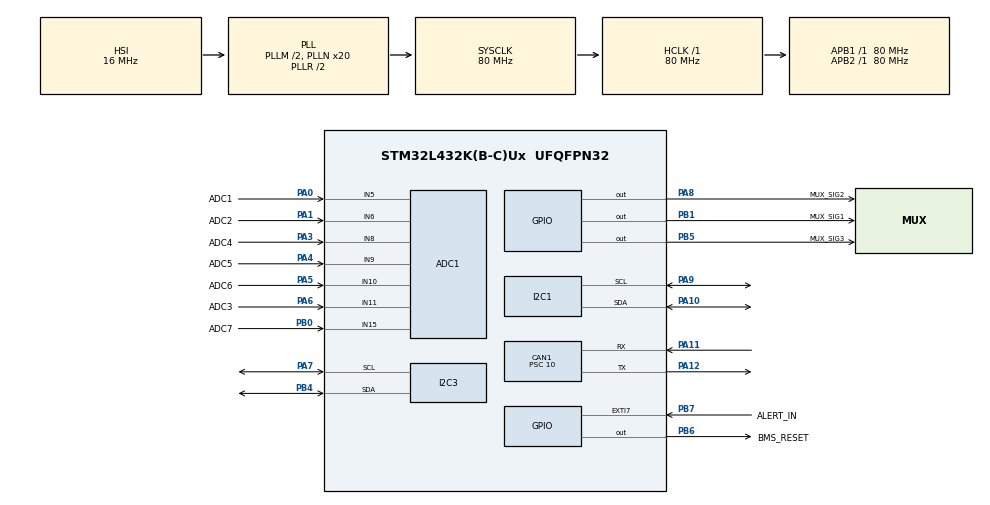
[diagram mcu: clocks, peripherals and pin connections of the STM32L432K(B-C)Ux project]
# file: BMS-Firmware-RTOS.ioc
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ADC1.Channel-0\#ChannelRegularConversion=ADC_CHANNEL_5
ADC1.NbrOfConversionFlag=1
ADC1.OffsetNumber-0\#ChannelRegularConversion=ADC_OFFSET_NONE
ADC1.Rank-0\#ChannelRegularConversion=1
ADC1.SamplingTime-0\#ChannelRegularConversion=ADC_SAMPLETIME_2CYCLES_5
ADC1.master=1
CAN1.BS1=CAN_BS1_13TQ
CAN1.BS2=CAN_BS2_2TQ
CAN1.CalculateBaudRate=500000
CAN1.CalculateTimeBit=2000
CAN1.CalculateTimeQuantum=125.0
CAN1.Prescaler=10
FREERTOS.Mutexes01=I2C1,Dynamic,NULL,Available;I2C3,Dynamic,NULL,Available
FREERTOS.Tasks01=CellVoltageBMS1,40,128,ReadBQBMS1,Default,NULL,Dynamic,NULL,NULL;CellVoltageBMS2,40,128,ReadBQBMS2,Default,NULL,Dynamic,NULL,NULL;CellTemperature,40,128,ReadCellTemps,Default,NULL,Dynamic,NULL,NULL;CANManager,56,256,CAN_ManagerTask,Default,NULL,Dynamic,NULL,NULL;BMSResetHandler,8,128,BMSResetHandlerTask,Default,NULL,Dynamic,NULL,NULL
I2C1.Timing=0x00503D58
I2C3.Timing=0x00503D58
Mcu.Family=STM32L4
Mcu.Name=STM32L432K(B-C)Ux
Mcu.Package=UFQFPN32
NVIC.PriorityGroup=NVIC_PRIORITYGROUP_4
NVIC.TIM6_DAC_IRQn=true\:15\:0\:false\:false\:true\:false\:false\:true\:true
NVIC.TimeBase=TIM6_DAC_IRQn
NVIC.TimeBaseIP=TIM6
PA0.GPIO_Label=ADC1
PA0.Signal=ADCx_IN5
PA1.GPIO_Label=ADC2
PA1.Signal=ADCx_IN6
PA10.GPIO_Pu=GPIO_PULLUP
PA10.Mode=I2C
PA10.Signal=I2C1_SDA
PA11.Mode=CAN_Activate
PA11.Signal=CAN1_RX
PA12.Mode=CAN_Activate
PA12.Signal=CAN1_TX
PA3.GPIO_Label=ADC4
PA3.Signal=ADCx_IN8
PA4.GPIO_Label=ADC5
PA4.Signal=ADCx_IN9
PA5.GPIO_Label=ADC6
PA5.Signal=ADCx_IN10
PA6.GPIO_Label=ADC3
PA6.Signal=ADCx_IN11
PA7.GPIO_Pu=GPIO_PULLUP
PA7.Mode=I2C
PA7.Signal=I2C3_SCL
PA8.GPIO_Label=MUX_SIG2
PA8.Signal=GPIO_Output
PA9.GPIO_Pu=GPIO_PULLUP
PA9.Mode=I2C
PA9.Signal=I2C1_SCL
PB0.GPIO_Label=ADC7
PB0.Signal=ADCx_IN15
PB1.GPIO_Label=MUX_SIG1
PB1.Signal=GPIO_Output
PB4\ (NJTRST).GPIO_Pu=GPIO_PULLUP
PB4\ (NJTRST).Mode=I2C
PB4\ (NJTRST).Signal=I2C3_SDA
PB5.GPIO_Label=MUX_SIG3
PB5.Signal=GPIO_Output
PB6.GPIO_Label=BMS_RESET
PB6.Signal=GPIO_Output
PB7.GPIO_Label=ALERT_IN
PB7.GPIO_ModeDefaultEXTI=GPIO_MODE_IT_RISING_FALLING
PB7.Signal=GPXTI7
ProjectManager.HeapSize=0x200
ProjectManager.StackSize=0x400
ProjectManager.TargetToolchain=Makefile
RCC.ADCFreq_Value=32000000
RCC.AHBFreq_Value=80000000
RCC.APB1Freq_Value=80000000
RCC.APB1TimFreq_Value=80000000
RCC.APB2Freq_Value=80000000
RCC.APB2TimFreq_Value=80000000
RCC.CortexFreq_Value=80000000
RCC.HCLKFreq_Value=80000000
RCC.HSE_VALUE=8000000
RCC.HSI48_VALUE=48000000
RCC.HSI_VALUE=16000000
RCC.I2C1CLockSelection=RCC_I2C1CLKSOURCE_HSI
RCC.I2C3CLockSelection=RCC_I2C3CLKSOURCE_HSI
RCC.LSE_VALUE=32768
RCC.MSI_VALUE=4000000
RCC.PLLM=2
RCC.PLLN=20
RCC.PLLSourceVirtual=RCC_PLLSOURCE_HSI
RCC.SYSCLKFreq_VALUE=80000000
RCC.SYSCLKSource=RCC_SYSCLKSOURCE_PLLCLK
RCC.USBFreq_Value=32000000
RCC.VCOOutputFreq_Value=160000000
SH.ADCx_IN10.0=ADC1_IN10,IN10-Single-Ended
SH.ADCx_IN11.0=ADC1_IN11,IN11-Single-Ended
SH.ADCx_IN15.0=ADC1_IN15,IN15-Single-Ended
SH.ADCx_IN5.0=ADC1_IN5,IN5-Single-Ended
SH.ADCx_IN6.0=ADC1_IN6,IN6-Single-Ended
SH.ADCx_IN8.0=ADC1_IN8,IN8-Single-Ended
SH.ADCx_IN9.0=ADC1_IN9,IN9-Single-Ended
VP_CRC_VS_CRC.Mode=CRC_Activate
VP_FREERTOS_VS_CMSIS_V2.Mode=CMSIS_V2
VP_SYS_VS_tim6.Mode=TIM6
board=custom

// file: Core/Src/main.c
/* USER CODE BEGIN Header */
/**
  ******************************************************************************
  * @file           : main.c
  * @brief          : Main program body
  ******************************************************************************
  * @attention
  *
  * Copyright (c) 2025 STMicroelectronics.
  * All rights reserved.
  *
  * This software is licensed under terms that can be found in the LICENSE file
  * in the root directory of this software component.
  * If no LICENSE file comes with this software, it is provided AS-IS.
  *
  ******************************************************************************
  */
/* USER CODE END Header */
#include "main.h"
#include "cmsis_os.h"

/* USER CODE BEGIN Includes */
#include "cell_temp_handler.h"
#include "bq_handler.h"
#include "can_manager.h"
#include "config_manager.h"
#include "error_manager.h"
#include "state_machine.h"
#include "balance_manager.h"
#include "watchdog.h"
#include "ds18b20_handler.h"
/* USER CODE END Includes */

ADC_HandleTypeDef hadc1;

CAN_HandleTypeDef hcan1;

CRC_HandleTypeDef hcrc;

I2C_HandleTypeDef hi2c1;
I2C_HandleTypeDef hi2c3;

/* USER CODE BEGIN PV */

/* Bootloader application validity status (1 = valid, 0 = invalid) */
uint8_t g_bootloader_app_valid = 0;
uint8_t g_bootloader_status_flags = 0;

/* Definitions for CellVoltageBMS1 */
osThreadId_t CellVoltageBMS1Handle;
const osThreadAttr_t CellVoltageBMS1_attributes = {
  .name = "CellVoltageBMS1",
  .stack_size = 128 * 4,
  .priority = (osPriority_t) osPriorityHigh,
};
/* Definitions for CellVoltageBMS2 */
osThreadId_t CellVoltageBMS2Handle;
const osThreadAttr_t CellVoltageBMS2_attributes = {
  .name = "CellVoltageBMS2",
  .stack_size = 128 * 4,
  .priority = (osPriority_t) osPriorityHigh,
};
/* Definitions for CellTemperature */
osThreadId_t CellTemperatureHandle;
const osThreadAttr_t CellTemperature_attributes = {
  .name = "CellTemperature",
  .stack_size = 128 * 4,
  .priority = (osPriority_t) osPriorityHigh,
};
/* Definitions for CANManager */
osThreadId_t CANManagerHandle;
const osThreadAttr_t CANManager_attributes = {
  .name = "CANManager",
  .stack_size = 256 * 4,
  .priority = (osPriority_t) osPriorityRealtime,
};
/* Definitions for I2C1 */
osMutexId_t I2C1Handle;
const osMutexAttr_t I2C1_attributes = {
  .name = "I2C1"
};
/* Definitions for I2C3 */
osMutexId_t I2C3Handle;
const osMutexAttr_t I2C3_attributes = {
  .name = "I2C3"
};
/* USER CODE BEGIN PV */
/* Definitions for BMS Reset Semaphore */
osSemaphoreId_t BMSResetSemHandle;
const osSemaphoreAttr_t BMSResetSem_attributes = {
  .name = "BMSResetSem"
};

/* Definitions for BMSResetHandler task */
osThreadId_t BMSResetHandlerHandle;
const osThreadAttr_t BMSResetHandler_attributes = {
  .name = "BMSResetHandler",
  .stack_size = 128 * 4,
  .priority = (osPriority_t) osPriorityLow,
};
#if DS18B20_FEATURE_ENABLED
/* Definitions for DS18B20Monitor task */
osThreadId_t DS18B20MonitorHandle;
const osThreadAttr_t DS18B20Monitor_attributes = {
  .name = "DS18B20Monitor",
  .stack_size = 128 * 4,
  .priority = (osPriority_t) osPriorityNormal,
};
#endif
/* USER CODE END PV */

void SystemClock_Config(void);
static void MX_GPIO_Init(void);
static void MX_ADC1_Init(void);
static void MX_CAN1_Init(void);
static void MX_CRC_Init(void);
static void MX_I2C1_Init(void);
static void MX_I2C3_Init(void);

/* USER CODE BEGIN PFP */
void ReadBQBMS1(void *argument);
void ReadBQBMS2(void *argument);
void ReadCellTemps(void *argument);
void BMSResetHandlerTask(void *argument);
#if DS18B20_FEATURE_ENABLED
void DS18B20_MonitorTask(void *argument);
#endif
static void Bootloader_UpdateApplicationStatus(void);
static uint8_t Bootloader_IsMetadataValid(const BootMetadata_t *metadata);
static uint8_t Bootloader_IsBankMarkedValid(const BootMetadata_t *metadata, uint8_t bank);
static uint8_t Bootloader_IsBankCrcValid(const BootMetadata_t *metadata, uint8_t bank);
static uint8_t Bootloader_IsBankVectorValid(uint8_t bank);
static uint32_t Bootloader_GetBankStartAddress(uint8_t bank);
static uint32_t Bootloader_GetBankSize(const BootMetadata_t *metadata, uint8_t bank);
static uint32_t Bootloader_GetBankCrc(const BootMetadata_t *metadata, uint8_t bank);
static uint32_t Bootloader_ComputeCRC32(uint32_t start_address, uint32_t size);
/* USER CODE END PFP */

/* USER CODE BEGIN 0 */

static uint32_t Bootloader_GetBankStartAddress(uint8_t bank)
{
  return (bank == BOOT_BANK_B) ? BOOT_BANK_B_ADDRESS : BOOT_BANK_A_ADDRESS;
}

static uint32_t Bootloader_GetBankSize(const BootMetadata_t *metadata, uint8_t bank)
{
  return (bank == BOOT_BANK_B) ? metadata->bank_b_size : metadata->bank_a_size;
}

static uint32_t Bootloader_GetBankCrc(const BootMetadata_t *metadata, uint8_t bank)
{
  return (bank == BOOT_BANK_B) ? metadata->bank_b_crc : metadata->bank_a_crc;
}

static uint8_t Bootloader_IsMetadataValid(const BootMetadata_t *metadata)
{
  if (metadata->magic != BOOT_METADATA_MAGIC)
  {
    return 0;
  }

  if (metadata->complement != ~BOOT_METADATA_MAGIC)
  {
    return 0;
  }

  if (metadata->active_bank != BOOT_BANK_A && metadata->active_bank != BOOT_BANK_B)
  {
    return 0;
  }

  if (metadata->bank_a_size > BOOT_BANK_SIZE || metadata->bank_b_size > BOOT_BANK_SIZE)
  {
    return 0;
  }

  return 1;
}

static uint8_t Bootloader_IsBankMarkedValid(const BootMetadata_t *metadata, uint8_t bank)
{
  uint32_t image_size = Bootloader_GetBankSize(metadata, bank);

  if (image_size == 0U || image_size > BOOT_BANK_SIZE)
  {
    return 0;
  }

  if (bank == BOOT_BANK_A)
  {
    return metadata->bank_a_valid ? 1U : 0U;
  }

  if (bank == BOOT_BANK_B)
  {
    return metadata->bank_b_valid ? 1U : 0U;
  }

  return 0;
}

static uint8_t Bootloader_IsBankVectorValid(uint8_t bank)
{
  uint32_t app_base = Bootloader_GetBankStartAddress(bank);
  uint32_t stack_pointer = *(__IO uint32_t *)app_base;
  uint32_t reset_handler = *(__IO uint32_t *)(app_base + 4U);

  if ((stack_pointer & 0xFFF00000U) != 0x20000000U)
  {
    return 0;
  }

  if ((reset_handler & 0xFF000000U) != 0x08000000U || (reset_handler & 0x01U) == 0U)
  {
    return 0;
  }

  return 1;
}

static uint32_t Bootloader_ComputeCRC32(uint32_t start_address, uint32_t size)
{
  uint32_t crc = 0xFFFFFFFFU;
  const uint8_t *data = (const uint8_t *)start_address;

  for (uint32_t i = 0; i < size; i++)
  {
    crc ^= data[i];
    for (uint8_t bit = 0; bit < 8U; bit++)
    {
      if ((crc & 1U) != 0U)
      {
        crc = (crc >> 1U) ^ 0xEDB88320U;
      }
      else
      {
        crc >>= 1U;
      }
    }
  }

  return ~crc;
}

static uint8_t Bootloader_IsBankCrcValid(const BootMetadata_t *metadata, uint8_t bank)
{
  uint32_t image_size = Bootloader_GetBankSize(metadata, bank);
  uint32_t expected_crc = Bootloader_GetBankCrc(metadata, bank);
  uint32_t bank_start = Bootloader_GetBankStartAddress(bank);
  uint32_t computed_crc;

  if (image_size == 0U || image_size > BOOT_BANK_SIZE)
  {
    return 0;
  }

  computed_crc = Bootloader_ComputeCRC32(bank_start, image_size);

  return (computed_crc == expected_crc) ? 1U : 0U;
}

static void Bootloader_UpdateApplicationStatus(void)
{
  const BootMetadata_t *metadata = (const BootMetadata_t *)BOOT_METADATA_ADDRESS;
  uint8_t flags = 0;
  uint8_t bank_a_crc_ok = 0;
  uint8_t bank_b_crc_ok = 0;
  uint8_t active_crc_ok = 0;
  uint8_t active_bank;

  if (Bootloader_IsMetadataValid(metadata))
  {
    flags |= BOOT_STATUS_FLAG_METADATA_VALID;

    if (metadata->active_bank == BOOT_BANK_B)
    {
      flags |= BOOT_STATUS_FLAG_ACTIVE_BANK_B;
    }

    if (Bootloader_IsBankMarkedValid(metadata, BOOT_BANK_A))
    {
      flags |= BOOT_STATUS_FLAG_BANK_A_MARKED_VALID;
    }

    if (Bootloader_IsBankMarkedValid(metadata, BOOT_BANK_B))
    {
      flags |= BOOT_STATUS_FLAG_BANK_B_MARKED_VALID;
    }

    bank_a_crc_ok = Bootloader_IsBankCrcValid(metadata, BOOT_BANK_A);
    bank_b_crc_ok = Bootloader_IsBankCrcValid(metadata, BOOT_BANK_B);

    if (bank_a_crc_ok)
    {
      flags |= BOOT_STATUS_FLAG_BANK_A_CRC_OK;
    }

    if (bank_b_crc_ok)
    {
      flags |= BOOT_STATUS_FLAG_BANK_B_CRC_OK;
    }

    if (metadata->reserved0 == BOOT_METADATA_UPDATE_IN_PROGRESS)
    {
      flags |= BOOT_STATUS_FLAG_UPDATE_IN_PROGRESS;
    }

    active_bank = metadata->active_bank;
    active_crc_ok = (active_bank == BOOT_BANK_B) ? bank_b_crc_ok : bank_a_crc_ok;
    if (Bootloader_IsBankMarkedValid(metadata, active_bank) &&
        active_crc_ok &&
        Bootloader_IsBankVectorValid(active_bank))
    {
      flags |= BOOT_STATUS_FLAG_ACTIVE_APP_VALID;
    }
  }

  g_bootloader_status_flags = flags;
  g_bootloader_app_valid = ((flags & BOOT_STATUS_FLAG_ACTIVE_APP_VALID) != 0U) ? 1U : 0U;
}

/* USER CODE END 0 */

int main(void)
{

  /* USER CODE BEGIN 1 */
  // When coming from bootloader, disable all interrupts first
  __disable_irq();

  // Disable SysTick (bootloader might have enabled it)
  SysTick->CTRL = 0;
  SysTick->LOAD = 0;
  SysTick->VAL = 0;

  /* USER CODE END 1 */

  /* MCU Configuration--------------------------------------------------------*/

  /* Reset of all peripherals, Initializes the Flash interface and the Systick. */
  HAL_Init();

  /* Configure the system clock */
  SystemClock_Config();

  /* Initialize all configured peripherals */
  MX_GPIO_Init();
  MX_ADC1_Init();
  MX_CAN1_Init();
  MX_CRC_Init();
  MX_I2C1_Init();
  MX_I2C3_Init();
  /* USER CODE BEGIN 2 */

  // Wake BQ76952 chips from sleep and keep them in normal mode
  // Continue startup even on failure; monitor tasks will report communication faults
  (void)BQ_WakeChips();

  Bootloader_UpdateApplicationStatus();

  // Calibrate ADC
  if (HAL_ADCEx_Calibration_Start(&hadc1, ADC_SINGLE_ENDED) != HAL_OK)
  {
    Error_Handler();
  }

  // Start CAN peripheral
  if (HAL_CAN_Start(&hcan1) != HAL_OK)
  {
    Error_Handler();
  }

  /* USER CODE END 2 */

  /* Init scheduler */
  osKernelInitialize();
  /* Create the mutex(es) */
  /* creation of I2C1 */
  I2C1Handle = osMutexNew(&I2C1_attributes);

  /* creation of I2C3 */
  I2C3Handle = osMutexNew(&I2C3_attributes);

  /* USER CODE BEGIN RTOS_SEMAPHORES */
  /* Create BMS reset semaphore (binary semaphore for reset signaling) */
  BMSResetSemHandle = osSemaphoreNew(1, 0, &BMSResetSem_attributes);
  if (BMSResetSemHandle == NULL)
  {
    Error_Handler();
  }
  /* USER CODE END RTOS_SEMAPHORES */

  /* USER CODE BEGIN RTOS_QUEUES */
  // Initialize Configuration Manager
  Config_Init();

  // Initialize State Machine
  if (StateMachine_Init() != HAL_OK)
  {
    Error_Handler();
  }

  // Initialize Error Manager
  if (ErrorMgr_Init() != HAL_OK)
  {
    Error_Handler();
  }

  // Initialize Independent Watchdog (IWDG ~2s) and capture previous reset
  // cause. Once started the IWDG cannot be disabled; the supervisor task
  // (created below) is responsible for refreshing it.
  if (Watchdog_Init() != HAL_OK)
  {
    Error_Handler();
  }

  // Initialize CAN Manager (creates TX and RX message queues)
  if (CAN_Manager_Init() != HAL_OK)
  {
    Error_Handler();
  }

#if DS18B20_FEATURE_ENABLED
  // Initialize DS18B20 1-Wire thermometer on PB7 with internal pull-up
  if (DS18B20_Init() != HAL_OK)
  {
    Error_Handler();
  }
#endif

  // Initialize Balance Manager
  if (BalanceMgr_Init() != HAL_OK)
  {
    Error_Handler();
  }

  // Set initial BMS state to IDLE after initialization
  StateMachine_SetState(BMS_STATE_IDLE);
  /* USER CODE END RTOS_QUEUES */

  /* Create the thread(s) */
  /* USER CODE BEGIN RTOS_THREADS */
  /* creation of CellVoltageBMS1 */
  CellVoltageBMS1Handle = osThreadNew(ReadBQBMS1, NULL, &CellVoltageBMS1_attributes);

  /* creation of CellVoltageBMS2 */
  CellVoltageBMS2Handle = osThreadNew(ReadBQBMS2, NULL, &CellVoltageBMS2_attributes);

  /* creation of CellTemperature */
  CellTemperatureHandle = osThreadNew(ReadCellTemps, NULL, &CellTemperature_attributes);

#if DS18B20_FEATURE_ENABLED
  /* creation of DS18B20Monitor */
  DS18B20MonitorHandle = osThreadNew(DS18B20_MonitorTask, NULL, &DS18B20Monitor_attributes);
#endif

  /* creation of CANManager */
  CANManagerHandle = osThreadNew(CAN_ManagerTask, NULL, &CANManager_attributes);

  /* creation of BMSResetHandler */
  BMSResetHandlerHandle = osThreadNew(BMSResetHandlerTask, NULL, &BMSResetHandler_attributes);

  /* creation of Watchdog supervisor */
  if (Watchdog_StartSupervisor() != HAL_OK)
  {
    Error_Handler();
  }
  /* USER CODE END RTOS_THREADS */

  /* Start scheduler */
  osKernelStart();

  /* We should never get here as control is now taken by the scheduler */

  /* Infinite loop */
  while (1)
  {

  }
}

void SystemClock_Config(void)
{
  RCC_OscInitTypeDef RCC_OscInitStruct = {0};
  RCC_ClkInitTypeDef RCC_ClkInitStruct = {0};

  /** Configure the main internal regulator output voltage
  */
  if (HAL_PWREx_ControlVoltageScaling(PWR_REGULATOR_VOLTAGE_SCALE1) != HAL_OK)
  {
    Error_Handler();
  }

  /** Initializes the RCC Oscillators according to the specified parameters
  * in the RCC_OscInitTypeDef structure.
  */
  RCC_OscInitStruct.OscillatorType = RCC_OSCILLATORTYPE_HSI;
  RCC_OscInitStruct.HSIState = RCC_HSI_ON;
  RCC_OscInitStruct.HSICalibrationValue = RCC_HSICALIBRATION_DEFAULT;
  RCC_OscInitStruct.PLL.PLLState = RCC_PLL_ON;
  RCC_OscInitStruct.PLL.PLLSource = RCC_PLLSOURCE_HSI;
  RCC_OscInitStruct.PLL.PLLM = 2;
  RCC_OscInitStruct.PLL.PLLN = 20;
  RCC_OscInitStruct.PLL.PLLP = RCC_PLLP_DIV7;
  RCC_OscInitStruct.PLL.PLLQ = RCC_PLLQ_DIV2;
  RCC_OscInitStruct.PLL.PLLR = RCC_PLLR_DIV2;
  if (HAL_RCC_OscConfig(&RCC_OscInitStruct) != HAL_OK)
  {
    Error_Handler();
  }

  /** Initializes the CPU, AHB and APB buses clocks
  */
  RCC_ClkInitStruct.ClockType = RCC_CLOCKTYPE_HCLK|RCC_CLOCKTYPE_SYSCLK
                              |RCC_CLOCKTYPE_PCLK1|RCC_CLOCKTYPE_PCLK2;
  RCC_ClkInitStruct.SYSCLKSource = RCC_SYSCLKSOURCE_PLLCLK;
  RCC_ClkInitStruct.AHBCLKDivider = RCC_SYSCLK_DIV1;
  RCC_ClkInitStruct.APB1CLKDivider = RCC_HCLK_DIV1;
  RCC_ClkInitStruct.APB2CLKDivider = RCC_HCLK_DIV1;

  if (HAL_RCC_ClockConfig(&RCC_ClkInitStruct, FLASH_LATENCY_4) != HAL_OK)
  {
    Error_Handler();
  }
}

static void MX_ADC1_Init(void)
{

  ADC_ChannelConfTypeDef sConfig = {0};

  /** Common config
  */
  hadc1.Instance = ADC1;
  hadc1.Init.ClockPrescaler = ADC_CLOCK_ASYNC_DIV1;
  hadc1.Init.Resolution = ADC_RESOLUTION_12B;
  hadc1.Init.DataAlign = ADC_DATAALIGN_RIGHT;
  hadc1.Init.ScanConvMode = ADC_SCAN_DISABLE;
  hadc1.Init.EOCSelection = ADC_EOC_SINGLE_CONV;
  hadc1.Init.LowPowerAutoWait = DISABLE;
  hadc1.Init.ContinuousConvMode = DISABLE;
  hadc1.Init.NbrOfConversion = 1;
  hadc1.Init.DiscontinuousConvMode = DISABLE;
  hadc1.Init.ExternalTrigConv = ADC_SOFTWARE_START;
  hadc1.Init.ExternalTrigConvEdge = ADC_EXTERNALTRIGCONVEDGE_NONE;
  hadc1.Init.DMAContinuousRequests = DISABLE;
  hadc1.Init.Overrun = ADC_OVR_DATA_PRESERVED;
  hadc1.Init.OversamplingMode = DISABLE;
  if (HAL_ADC_Init(&hadc1) != HAL_OK)
  {
    Error_Handler();
  }

  /** Configure Regular Channel
  */
  sConfig.Channel = ADC_CHANNEL_5;  // ADC1 (PA0) - first thermistor channel
  sConfig.Rank = ADC_REGULAR_RANK_1;
  sConfig.SamplingTime = ADC_SAMPLETIME_640CYCLES_5;  // Longer sampling for high impedance thermistors
  sConfig.SingleDiff = ADC_SINGLE_ENDED;
  sConfig.OffsetNumber = ADC_OFFSET_NONE;
  sConfig.Offset = 0;
  if (HAL_ADC_ConfigChannel(&hadc1, &sConfig) != HAL_OK)
  {
    Error_Handler();
  }

}

static void MX_CAN1_Init(void)
{

  hcan1.Instance = CAN1;
  hcan1.Init.Prescaler = 10;
  hcan1.Init.Mode = CAN_MODE_NORMAL;
  hcan1.Init.SyncJumpWidth = CAN_SJW_1TQ;
  hcan1.Init.TimeSeg1 = CAN_BS1_13TQ;
  hcan1.Init.TimeSeg2 = CAN_BS2_2TQ;
  hcan1.Init.TimeTriggeredMode = DISABLE;
  hcan1.Init.AutoBusOff = DISABLE;
  hcan1.Init.AutoWakeUp = DISABLE;
  hcan1.Init.AutoRetransmission = DISABLE;
  hcan1.Init.ReceiveFifoLocked = DISABLE;
  hcan1.Init.TransmitFifoPriority = DISABLE;
  if (HAL_CAN_Init(&hcan1) != HAL_OK)
  {
    Error_Handler();
  }
  /* USER CODE BEGIN CAN1_Init 2 */

  // Configure CAN filter BEFORE starting CAN
  // Accept all extended CAN IDs (for debugging)
  CAN_FilterTypeDef filterConfig;
  filterConfig.FilterBank = 0;
  filterConfig.FilterMode = CAN_FILTERMODE_IDMASK;
  filterConfig.FilterScale = CAN_FILTERSCALE_32BIT;

  // Accept all extended IDs: ID=0, Mask=0 means "don't care about any bits"
  filterConfig.FilterIdHigh = 0x0000;
  filterConfig.FilterIdLow = 0x0004;   // Only IDE bit set (extended ID)
  filterConfig.FilterMaskIdHigh = 0x0000;  // Don't care about any ID bits
  filterConfig.FilterMaskIdLow = 0x0004;   // But we DO care about IDE bit (only extended)

  filterConfig.FilterFIFOAssignment = CAN_RX_FIFO0;
  filterConfig.FilterActivation = ENABLE;
  filterConfig.SlaveStartFilterBank = 14;

  if (HAL_CAN_ConfigFilter(&hcan1, &filterConfig) != HAL_OK)
  {
    Error_Handler();
  }

  // Enable robust CAN fault handling (preserved across CubeMX regeneration)
  // ABOM: automatic recovery from Bus-Off per CAN specification
  // NART: clear to enable automatic retransmission for transient failures
  SET_BIT(hcan1.Instance->MCR, CAN_MCR_ABOM);
  CLEAR_BIT(hcan1.Instance->MCR, CAN_MCR_NART);

  /* USER CODE END CAN1_Init 2 */

}

static void MX_CRC_Init(void)
{

  hcrc.Instance = CRC;
  hcrc.Init.DefaultPolynomialUse = DEFAULT_POLYNOMIAL_ENABLE;
  hcrc.Init.DefaultInitValueUse = DEFAULT_INIT_VALUE_ENABLE;
  hcrc.Init.InputDataInversionMode = CRC_INPUTDATA_INVERSION_NONE;
  hcrc.Init.OutputDataInversionMode = CRC_OUTPUTDATA_INVERSION_DISABLE;
  hcrc.InputDataFormat = CRC_INPUTDATA_FORMAT_BYTES;
  if (HAL_CRC_Init(&hcrc) != HAL_OK)
  {
    Error_Handler();
  }

}

static void MX_I2C1_Init(void)
{

  hi2c1.Instance = I2C1;
  hi2c1.Init.Timing = 0x00503D58;
  hi2c1.Init.OwnAddress1 = 0;
  hi2c1.Init.AddressingMode = I2C_ADDRESSINGMODE_7BIT;
  hi2c1.Init.DualAddressMode = I2C_DUALADDRESS_DISABLE;
  hi2c1.Init.OwnAddress2 = 0;
  hi2c1.Init.OwnAddress2Masks = I2C_OA2_NOMASK;
  hi2c1.Init.GeneralCallMode = I2C_GENERALCALL_DISABLE;
  hi2c1.Init.NoStretchMode = I2C_NOSTRETCH_DISABLE;
  if (HAL_I2C_Init(&hi2c1) != HAL_OK)
  {
    Error_Handler();
  }

  /** Configure Analogue filter
  */
  if (HAL_I2CEx_ConfigAnalogFilter(&hi2c1, I2C_ANALOGFILTER_ENABLE) != HAL_OK)
  {
    Error_Handler();
  }

  /** Configure Digital filter
  */
  if (HAL_I2CEx_ConfigDigitalFilter(&hi2c1, 0) != HAL_OK)
  {
    Error_Handler();
  }

}

static void MX_I2C3_Init(void)
{

  hi2c3.Instance = I2C3;
  hi2c3.Init.Timing = 0x00503D58;
  hi2c3.Init.OwnAddress1 = 0;
  hi2c3.Init.AddressingMode = I2C_ADDRESSINGMODE_7BIT;
  hi2c3.Init.DualAddressMode = I2C_DUALADDRESS_DISABLE;
  hi2c3.Init.OwnAddress2 = 0;
  hi2c3.Init.OwnAddress2Masks = I2C_OA2_NOMASK;
  hi2c3.Init.GeneralCallMode = I2C_GENERALCALL_DISABLE;
  hi2c3.Init.NoStretchMode = I2C_NOSTRETCH_DISABLE;
  if (HAL_I2C_Init(&hi2c3) != HAL_OK)
  {
    Error_Handler();
  }

  /** Configure Analogue filter
  */
  if (HAL_I2CEx_ConfigAnalogFilter(&hi2c3, I2C_ANALOGFILTER_ENABLE) != HAL_OK)
  {
    Error_Handler();
  }

  /** Configure Digital filter
  */
  if (HAL_I2CEx_ConfigDigitalFilter(&hi2c3, 0) != HAL_OK)
  {
    Error_Handler();
  }

}

static void MX_GPIO_Init(void)
{
  GPIO_InitTypeDef GPIO_InitStruct = {0};

  /* GPIO Ports Clock Enable */
  __HAL_RCC_GPIOA_CLK_ENABLE();
  __HAL_RCC_GPIOB_CLK_ENABLE();

  /*Configure GPIO pin Output Level */
  HAL_GPIO_WritePin(GPIOB, MUX_SIG1_Pin|MUX_SIG3_Pin|BMS_RESET_Pin, GPIO_PIN_RESET);

  /*Configure GPIO pin Output Level */
  HAL_GPIO_WritePin(MUX_SIG2_GPIO_Port, MUX_SIG2_Pin, GPIO_PIN_RESET);

  /*Configure GPIO pins : MUX_SIG1_Pin MUX_SIG3_Pin */
#ifdef MUX_SIG_USE_OPEN_DRAIN
  GPIO_InitStruct.Pin = MUX_SIG1_Pin|MUX_SIG3_Pin;
  GPIO_InitStruct.Mode = GPIO_MODE_OUTPUT_OD;
  GPIO_InitStruct.Pull = GPIO_NOPULL;
  GPIO_InitStruct.Speed = GPIO_SPEED_FREQ_LOW;
  HAL_GPIO_Init(GPIOB, &GPIO_InitStruct);
#else
  GPIO_InitStruct.Pin = MUX_SIG1_Pin|MUX_SIG3_Pin;
  GPIO_InitStruct.Mode = GPIO_MODE_OUTPUT_PP;
  GPIO_InitStruct.Pull = GPIO_NOPULL;
  GPIO_InitStruct.Speed = GPIO_SPEED_FREQ_LOW;
  HAL_GPIO_Init(GPIOB, &GPIO_InitStruct);
#endif

  /*Configure GPIO pin : BMS_RESET_Pin (always push-pull) */
  GPIO_InitStruct.Pin = BMS_RESET_Pin;
  GPIO_InitStruct.Mode = GPIO_MODE_OUTPUT_PP;
  GPIO_InitStruct.Pull = GPIO_NOPULL;
  GPIO_InitStruct.Speed = GPIO_SPEED_FREQ_LOW;
  HAL_GPIO_Init(GPIOB, &GPIO_InitStruct);

  /*Configure GPIO pin : MUX_SIG2_Pin */
  GPIO_InitStruct.Pin = MUX_SIG2_Pin;
#ifdef MUX_SIG_USE_OPEN_DRAIN
  GPIO_InitStruct.Mode = GPIO_MODE_OUTPUT_OD;
#else
  GPIO_InitStruct.Mode = GPIO_MODE_OUTPUT_PP;
#endif
  GPIO_InitStruct.Pull = GPIO_NOPULL;
  GPIO_InitStruct.Speed = GPIO_SPEED_FREQ_LOW;
  HAL_GPIO_Init(MUX_SIG2_GPIO_Port, &GPIO_InitStruct);

  /*Configure GPIO pin : ALERT_IN_Pin */
  GPIO_InitStruct.Pin = ALERT_IN_Pin;
  GPIO_InitStruct.Mode = GPIO_MODE_IT_RISING_FALLING;
  GPIO_InitStruct.Pull = GPIO_NOPULL;
  HAL_GPIO_Init(ALERT_IN_GPIO_Port, &GPIO_InitStruct);

  /* USER CODE BEGIN MX_GPIO_Init_2 */

#if !DS18B20_FEATURE_ENABLED
  HAL_GPIO_DeInit(ALERT_IN_GPIO_Port, ALERT_IN_Pin);
#endif

  /* USER CODE END MX_GPIO_Init_2 */
}

/* USER CODE BEGIN 4 */

/**
  * @brief  Application malloc failed hook (FreeRTOS)
  * @retval None
  */
void vApplicationMallocFailedHook(void)
{
  /* Called if a call to pvPortMalloc() fails because there is insufficient
     free memory available in the FreeRTOS heap. This usually means the heap
     size is too small. Blink MUX_SIG1 rapidly to indicate heap failure. */
  taskDISABLE_INTERRUPTS();
  for(;;) {
    HAL_GPIO_TogglePin(GPIOB, MUX_SIG1_Pin);
    for(volatile uint32_t i = 0; i < 100000; i++);  // Busy wait
  }
}

/* USER CODE END 4 */

/* USER CODE BEGIN Header_ReadCellVoltage */
void ReadBQBMS1(void *argument)
{
  /* USER CODE BEGIN ReadCellVoltageBMS1 */
  /* Call the BMS1 cell voltage monitoring task */
  BQ_MonitorTask(argument);
  /* USER CODE END ReadCellVoltageBMS1 */
}

void ReadBQBMS2(void *argument)
{
  /* USER CODE BEGIN ReadCellVoltageBMS2 */
  /* Call the BMS2 cell voltage monitoring task */
  BQ_MonitorTask_BMS2(argument);
  /* USER CODE END ReadCellVoltageBMS2 */
}

void ReadCellTemps(void *argument)
{
  /* USER CODE BEGIN ReadCellTemps */
  /* Call the cell temperature monitoring task */
  CellTemp_MonitorTask(argument);
  /* USER CODE END ReadCellTemps */
}

/* USER CODE BEGIN Header_BMSResetHandlerTask */
/**
* @brief Function implementing the BMSResetHandler thread.
* @param argument: Not used
* @retval None
* @note  This task waits for a semaphore signal to perform BMS chip reset.
*        Using a dedicated task prevents blocking the CAN manager during
*        the 600ms reset sequence (500ms + 100ms delays).
*/
/* USER CODE END Header_BMSResetHandlerTask */
void BMSResetHandlerTask(void *argument)
{
  /* USER CODE BEGIN BMSResetHandlerTask */
  /* Infinite loop */
  for(;;)
  {
    // Wait indefinitely for reset semaphore signal
    if (osSemaphoreAcquire(BMSResetSemHandle, osWaitForever) == osOK)
    {
      // Perform the chip reset (blocks for 600ms total)
      BQ_ResetChips();
    }
  }
  /* USER CODE END BMSResetHandlerTask */
}

void HAL_TIM_PeriodElapsedCallback(TIM_HandleTypeDef *htim)
{
  if (htim->Instance == TIM6)
  {
    HAL_IncTick();
  }
}

void Error_Handler(void)
{
  __disable_irq();
  while (1)
  {
  }
}
